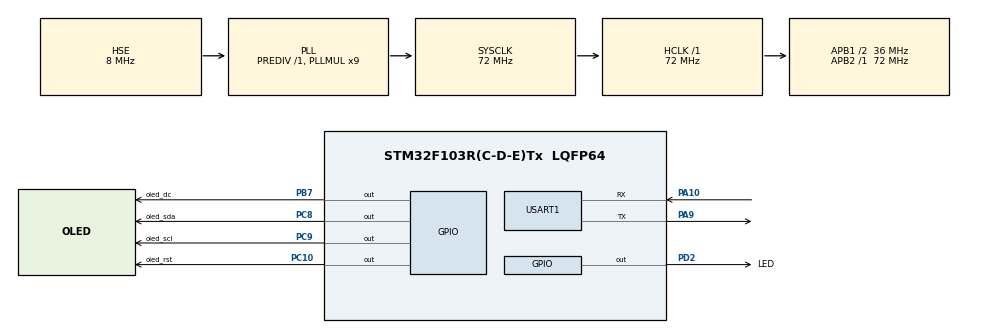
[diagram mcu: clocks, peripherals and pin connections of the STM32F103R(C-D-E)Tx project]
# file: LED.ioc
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FREERTOS.Tasks01=Task1,24,128,Task01,Default,NULL,Dynamic,NULL,NULL;Task2,8,512,Task02,Default,NULL,Dynamic,NULL,NULL
Mcu.Family=STM32F1
Mcu.Name=STM32F103R(C-D-E)Tx
Mcu.Package=LQFP64
NVIC.PriorityGroup=NVIC_PRIORITYGROUP_4
NVIC.TIM1_UP_IRQn=true\:0\:0\:false\:false\:true\:false\:false\:true
NVIC.TimeBase=TIM1_UP_IRQn
NVIC.TimeBaseIP=TIM1
PA10.Mode=Asynchronous
PA10.Signal=USART1_RX
PA13.Mode=Serial_Wire
PA13.Signal=SYS_JTMS-SWDIO
PA14.Mode=Serial_Wire
PA14.Signal=SYS_JTCK-SWCLK
PA9.Mode=Asynchronous
PA9.Signal=USART1_TX
PB7.GPIO_Label=oled_dc
PB7.Signal=GPIO_Output
PC10.GPIO_Label=oled_rst
PC10.Signal=GPIO_Output
PC14-OSC32_IN.Mode=LSE-External-Oscillator
PC14-OSC32_IN.Signal=RCC_OSC32_IN
PC15-OSC32_OUT.Mode=LSE-External-Oscillator
PC15-OSC32_OUT.Signal=RCC_OSC32_OUT
PC8.GPIO_Label=oled_sda
PC8.Signal=GPIO_Output
PC9.GPIO_Label=oled_scl
PC9.Signal=GPIO_Output
PD0-OSC_IN.Mode=HSE-External-Oscillator
PD0-OSC_IN.Signal=RCC_OSC_IN
PD1-OSC_OUT.Mode=HSE-External-Oscillator
PD1-OSC_OUT.Signal=RCC_OSC_OUT
PD2.GPIO_Label=LED
PD2.GPIO_Speed=GPIO_SPEED_FREQ_HIGH
PD2.PinState=GPIO_PIN_SET
PD2.Signal=GPIO_Output
ProjectManager.HeapSize=0x200
ProjectManager.StackSize=0x400
ProjectManager.TargetToolchain=STM32CubeIDE
RCC.AHBFreq_Value=72000000
RCC.APB1CLKDivider=RCC_HCLK_DIV2
RCC.APB1Freq_Value=36000000
RCC.APB1TimFreq_Value=72000000
RCC.APB2Freq_Value=72000000
RCC.APB2TimFreq_Value=72000000
RCC.HCLKFreq_Value=72000000
RCC.PLLMUL=RCC_PLL_MUL9
RCC.PLLSourceVirtual=RCC_PLLSOURCE_HSE
RCC.SYSCLKFreq_VALUE=72000000
RCC.SYSCLKSource=RCC_SYSCLKSOURCE_PLLCLK
RCC.USBFreq_Value=72000000
USART1.VirtualMode=VM_ASYNC
VP_FREERTOS_VS_CMSIS_V2.Mode=CMSIS_V2
VP_SYS_VS_tim1.Mode=TIM1
board=custom

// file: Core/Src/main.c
/* USER CODE BEGIN Header */
/**
  ******************************************************************************
  * @file           : main.c
  * @brief          : Main program body
  ******************************************************************************
  * @attention
  *
  * <h2><center>&copy; Copyright (c) 2021 STMicroelectronics.
  * All rights reserved.</center></h2>
  *
  * This software component is licensed by ST under Ultimate Liberty license
  * SLA0044, the "License"; You may not use this file except in compliance with
  * the License. You may obtain a copy of the License at:
  *                             www.st.com/SLA0044
  *
  ******************************************************************************
  */
/* USER CODE END Header */
#include "main.h"
#include "cmsis_os.h"

/* USER CODE BEGIN Includes */
#include <stdio.h>
#include "oled.h"
/* USER CODE END Includes */

/* USER CODE BEGIN PM */
int ss=0;
/* USER CODE END PM */

UART_HandleTypeDef huart1;

/* Definitions for Task1 */
osThreadId_t Task1Handle;
const osThreadAttr_t Task1_attributes = {
  .name = "Task1",
  .stack_size = 128 * 4,
  .priority = (osPriority_t) osPriorityNormal,
};
/* Definitions for Task2 */
osThreadId_t Task2Handle;
const osThreadAttr_t Task2_attributes = {
  .name = "Task2",
  .stack_size = 512 * 4,
  .priority = (osPriority_t) osPriorityLow,
};

void SystemClock_Config(void);
static void MX_GPIO_Init(void);
static void MX_USART1_UART_Init(void);
void Task01(void *argument);
void Task02(void *argument);

/* USER CODE BEGIN 0 */
#ifdef __GNUC__
#define PUTCHAR_PROTOTYPE int __io_putchar(int ch)
#else
#define PUTCHAR_PROTOTYPE int fputc(int ch, FILE *f)
#endif

PUTCHAR_PROTOTYPE
{
//同样USART2改为你的串口
	HAL_UART_Transmit(&huart1, (uint8_t*)&ch,1,HAL_MAX_DELAY);
    return ch;
}

/* USER CODE END 0 */

int main(void)
{

  /* MCU Configuration--------------------------------------------------------*/

  /* Reset of all peripherals, Initializes the Flash interface and the Systick. */
  HAL_Init();

  /* Configure the system clock */
  SystemClock_Config();

  /* Initialize all configured peripherals */
  MX_GPIO_Init();
  MX_USART1_UART_Init();
  /* USER CODE BEGIN 2 */
  OLED_Init();
  /* USER CODE END 2 */

  /* Init scheduler */
  osKernelInitialize();

  /* USER CODE BEGIN RTOS_QUEUES */
  /* add queues, ... */
  OLED_ShowNumber(0,0,1612,4,12);
  OLED_Refresh_Gram();
  /* USER CODE END RTOS_QUEUES */

  /* Create the thread(s) */
  /* creation of Task1 */
  Task1Handle = osThreadNew(Task01, NULL, &Task1_attributes);

  /* creation of Task2 */
  Task2Handle = osThreadNew(Task02, NULL, &Task2_attributes);

  /* Start scheduler */
  osKernelStart();

  /* We should never get here as control is now taken by the scheduler */
  /* Infinite loop */
  while (1)
  {

  }
}

void SystemClock_Config(void)
{
  RCC_OscInitTypeDef RCC_OscInitStruct = {0};
  RCC_ClkInitTypeDef RCC_ClkInitStruct = {0};

  /** Initializes the RCC Oscillators according to the specified parameters
  * in the RCC_OscInitTypeDef structure.
  */
  RCC_OscInitStruct.OscillatorType = RCC_OSCILLATORTYPE_HSE;
  RCC_OscInitStruct.HSEState = RCC_HSE_ON;
  RCC_OscInitStruct.HSEPredivValue = RCC_HSE_PREDIV_DIV1;
  RCC_OscInitStruct.HSIState = RCC_HSI_ON;
  RCC_OscInitStruct.PLL.PLLState = RCC_PLL_ON;
  RCC_OscInitStruct.PLL.PLLSource = RCC_PLLSOURCE_HSE;
  RCC_OscInitStruct.PLL.PLLMUL = RCC_PLL_MUL9;
  if (HAL_RCC_OscConfig(&RCC_OscInitStruct) != HAL_OK)
  {
    Error_Handler();
  }
  /** Initializes the CPU, AHB and APB buses clocks
  */
  RCC_ClkInitStruct.ClockType = RCC_CLOCKTYPE_HCLK|RCC_CLOCKTYPE_SYSCLK
                              |RCC_CLOCKTYPE_PCLK1|RCC_CLOCKTYPE_PCLK2;
  RCC_ClkInitStruct.SYSCLKSource = RCC_SYSCLKSOURCE_PLLCLK;
  RCC_ClkInitStruct.AHBCLKDivider = RCC_SYSCLK_DIV1;
  RCC_ClkInitStruct.APB1CLKDivider = RCC_HCLK_DIV2;
  RCC_ClkInitStruct.APB2CLKDivider = RCC_HCLK_DIV1;

  if (HAL_RCC_ClockConfig(&RCC_ClkInitStruct, FLASH_LATENCY_2) != HAL_OK)
  {
    Error_Handler();
  }
}

static void MX_USART1_UART_Init(void)
{

  huart1.Instance = USART1;
  huart1.Init.BaudRate = 115200;
  huart1.Init.WordLength = UART_WORDLENGTH_8B;
  huart1.Init.StopBits = UART_STOPBITS_1;
  huart1.Init.Parity = UART_PARITY_NONE;
  huart1.Init.Mode = UART_MODE_TX_RX;
  huart1.Init.HwFlowCtl = UART_HWCONTROL_NONE;
  huart1.Init.OverSampling = UART_OVERSAMPLING_16;
  if (HAL_UART_Init(&huart1) != HAL_OK)
  {
    Error_Handler();
  }

}

static void MX_GPIO_Init(void)
{
  GPIO_InitTypeDef GPIO_InitStruct = {0};

  /* GPIO Ports Clock Enable */
  __HAL_RCC_GPIOC_CLK_ENABLE();
  __HAL_RCC_GPIOD_CLK_ENABLE();
  __HAL_RCC_GPIOA_CLK_ENABLE();
  __HAL_RCC_GPIOB_CLK_ENABLE();

  /*Configure GPIO pin Output Level */
  HAL_GPIO_WritePin(GPIOC, oled_sda_Pin|oled_scl_Pin|oled_rst_Pin, GPIO_PIN_RESET);

  /*Configure GPIO pin Output Level */
  HAL_GPIO_WritePin(LED_GPIO_Port, LED_Pin, GPIO_PIN_SET);

  /*Configure GPIO pin Output Level */
  HAL_GPIO_WritePin(oled_dc_GPIO_Port, oled_dc_Pin, GPIO_PIN_RESET);

  /*Configure GPIO pins : oled_sda_Pin oled_scl_Pin oled_rst_Pin */
  GPIO_InitStruct.Pin = oled_sda_Pin|oled_scl_Pin|oled_rst_Pin;
  GPIO_InitStruct.Mode = GPIO_MODE_OUTPUT_PP;
  GPIO_InitStruct.Pull = GPIO_NOPULL;
  GPIO_InitStruct.Speed = GPIO_SPEED_FREQ_LOW;
  HAL_GPIO_Init(GPIOC, &GPIO_InitStruct);

  /*Configure GPIO pin : LED_Pin */
  GPIO_InitStruct.Pin = LED_Pin;
  GPIO_InitStruct.Mode = GPIO_MODE_OUTPUT_PP;
  GPIO_InitStruct.Pull = GPIO_NOPULL;
  GPIO_InitStruct.Speed = GPIO_SPEED_FREQ_HIGH;
  HAL_GPIO_Init(LED_GPIO_Port, &GPIO_InitStruct);

  /*Configure GPIO pin : oled_dc_Pin */
  GPIO_InitStruct.Pin = oled_dc_Pin;
  GPIO_InitStruct.Mode = GPIO_MODE_OUTPUT_PP;
  GPIO_InitStruct.Pull = GPIO_NOPULL;
  GPIO_InitStruct.Speed = GPIO_SPEED_FREQ_LOW;
  HAL_GPIO_Init(oled_dc_GPIO_Port, &GPIO_InitStruct);

}

void Task01(void *argument)
{
  /* USER CODE BEGIN 5 */
  /* Infinite loop */
  for(;;)
  {
	  //HAL_GPIO_WritePin(GPIOD, GPIO_Pin_2, GPIO_PIN_SET);
	  HAL_GPIO_TogglePin(GPIOD, GPIO_PIN_2);
	  osDelay(500);
  }
  /* USER CODE END 5 */
}

void Task02(void *argument)
{
  /* USER CODE BEGIN Task02 */
  /* Infinite loop */
  for(;;)
  {
	 ss++;
	 if(ss==4)
	 {OLED_Display_On();}
	 else if(ss==8)
	 {OLED_Display_Off();ss=0;}
	//	 printf("hello!%d\r\n",ss);
	//	 //osThreadSuspend(Task1Handle);    //会清空任务中的 全局数据
	//	 vTaskSuspend(Task1Handle);			//会清空任务中的 全局数据
	// }
	// else if (ss==10)
	// {
		 //osThreadResume(Task1Handle);		//会清空任务中的 全局数据
	//	 vTaskResume(Task1Handle);			//不会清空任务中的 全局数据
	//	 ss=0;
	// }
	 osDelay(500);

  }
  /* USER CODE END Task02 */
}

 /**
  * @brief  Period elapsed callback in non blocking mode
  * @note   This function is called  when TIM1 interrupt took place, inside
  * HAL_TIM_IRQHandler(). It makes a direct call to HAL_IncTick() to increment
  * a global variable "uwTick" used as application time base.
  * @param  htim : TIM handle
  * @retval None
  */
void HAL_TIM_PeriodElapsedCallback(TIM_HandleTypeDef *htim)
{
  if (htim->Instance == TIM1) {
    HAL_IncTick();
  }
}

void Error_Handler(void)
{
  __disable_irq();
  while (1)
  {
  }
}

/************************ (C) COPYRIGHT STMicroelectronics *****END OF FILE****/
